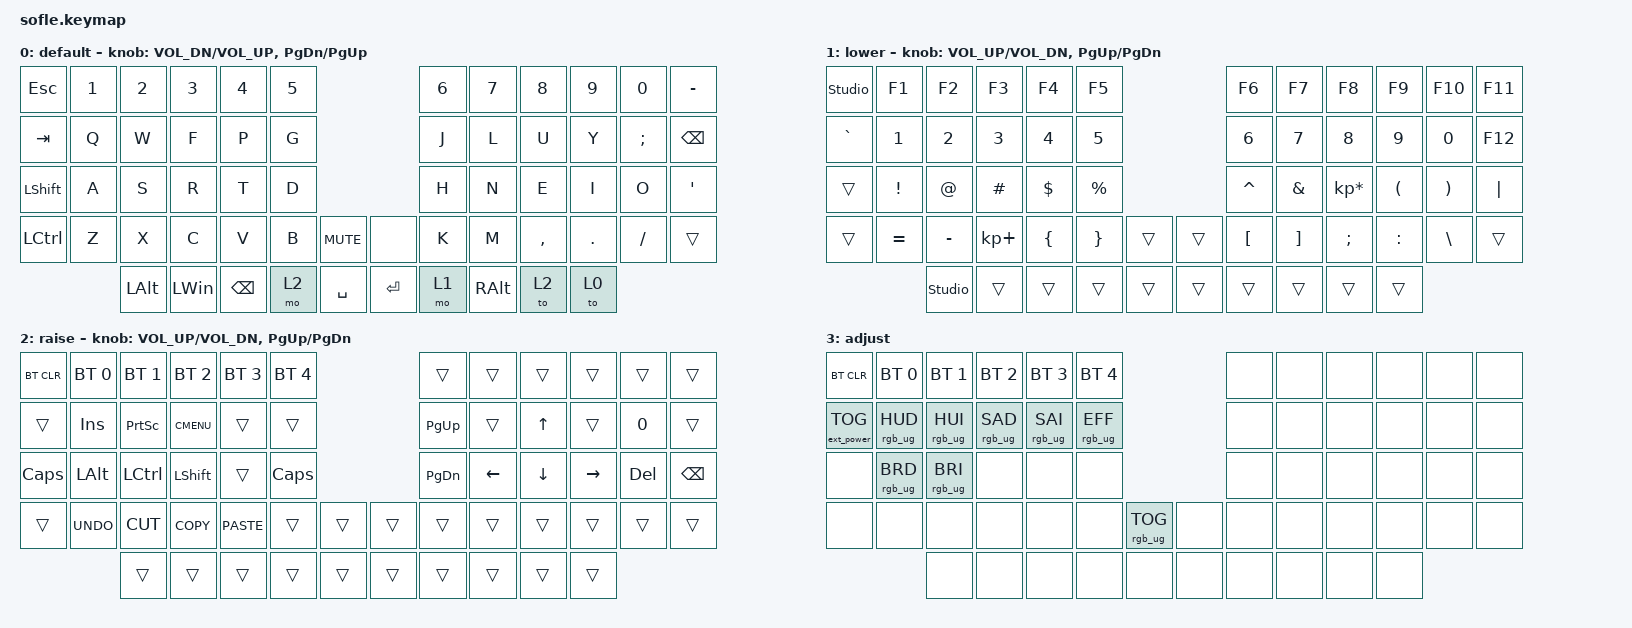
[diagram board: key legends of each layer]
/*
 * Copyright (c) 2020 The ZMK Contributors
 *
 * SPDX-License-Identifier: MIT
 */

#include <behaviors.dtsi>
#include <dt-bindings/zmk/bt.h>
#include <dt-bindings/zmk/ext_power.h>
#include <dt-bindings/zmk/keys.h>
#include <dt-bindings/zmk/rgb.h>

#define BASE 0
#define LOWER 1
#define RAISE 2
#define ADJUST 3

/ {
    // Activate ADJUST layer by pressing raise and lower

    conditional_layers {
        compatible = "zmk,conditional-layers";

        adjust_layer {
            if-layers = <1 2>;
            then-layer = <3>;
        };
    };

    keymap {
        compatible = "zmk,keymap";

        default_layer {
            label = "default";

            // ------------------------------------------------------------------------------------------------------------
            // |   `   |  1  |  2  |  3   |  4   |  5   |                   |  6   |  7    |  8    |  9   |   0   |       |
            // |  ESC  |  Q  |  W  |  E   |  R   |  T   |                   |  Y   |  U    |  I    |  O   |   P   | BKSPC |
            // |  TAB  |  A  |  S  |  D   |  F   |  G   |                   |  H   |  J    |  K    |  L   |   ;   |   '   |
            // | SHIFT |  Z  |  X  |  C   |  V   |  B   |  MUTE  |  |       |  N   |  M    |  ,    |  .   |   /   | SHIFT |
            //               | GUI | ALT  | CTRL | LOWER|  ENTER |  | SPACE | RAISE| CTRL  | ALT   | GUI  |

            bindings = <
&kp ESCAPE      &kp N1  &kp N2        &kp N3        &kp N4         &kp N5                         &kp N6  &kp N7         &kp N8     &kp N9   &kp N0         &kp MINUS
&kp TAB         &kp Q   &kp W         &kp F         &kp P          &kp G                          &kp J   &kp L          &kp U      &kp Y    &kp SEMICOLON  &kp BSPC
&kp LEFT_SHIFT  &kp A   &kp S         &kp R         &kp T          &kp D                          &kp H   &kp N          &kp E      &kp I    &kp O          &kp SQT
&kp LCTRL       &kp Z   &kp X         &kp C         &kp V          &kp B   &kp K_MUTE    &none    &kp K   &kp M          &kp COMMA  &kp DOT  &kp FSLH       &trans
                        &kp LEFT_ALT  &kp LEFT_WIN  &kp BACKSPACE  &mo 2   &kp SPACE     &kp RET  &mo 1   &kp RIGHT_ALT  &to 2      &to 0
            >;

            sensor-bindings =
                <&inc_dec_kp C_VOL_DN C_VOL_UP>,
                <&inc_dec_kp PG_DN PG_UP>;
        };

        lower_layer {
            label = "lower";

            // TODO: Some binds are waiting for shifted keycode support.
            // ------------------------------------------------------------------------------------------------------------
            // |       |  F1 |  F2 |  F3  |  F4  |  F5  |                   |  F6  |  F7   |  F8   |  F9  |  F10  |  F11  |
            // |   `   |  1  |  2  |  3   |  4   |  5   |                   |  6   |  7    |  8    |  9   |   0   |  F12  |
            // |       |  !  |  @  |  #   |  $   |  %   |                   |  ^   |  &    |  *    |  (   |   )   |   |   |
            // |       |  =  |  -  |  +   |  {   |  }   |        |  |       |  [   |  ]    |  ;    |  :   |   \   |       |
            //               |     |      |      |      |        |  |       |      |       |       |      |

            bindings = <
&studio_unlock  &kp F1     &kp F2          &kp F3       &kp F4    &kp F5                       &kp F6     &kp F7    &kp F8           &kp F9     &kp F10   &kp F11
&kp GRAVE       &kp N1     &kp N2          &kp N3       &kp N4    &kp N5                       &kp N6     &kp N7    &kp N8           &kp N9     &kp N0    &kp F12
&trans          &kp EXCL   &kp AT          &kp HASH     &kp DLLR  &kp PRCNT                    &kp CARET  &kp AMPS  &kp KP_MULTIPLY  &kp LPAR   &kp RPAR  &kp PIPE
&trans          &kp EQUAL  &kp MINUS       &kp KP_PLUS  &kp LBRC  &kp RBRC   &trans    &trans  &kp LBKT   &kp RBKT  &kp SEMI         &kp COLON  &kp BSLH  &trans
                           &studio_unlock  &trans       &trans    &trans     &trans    &trans  &trans     &trans    &trans           &trans
            >;

            sensor-bindings = <&inc_dec_kp C_VOL_UP C_VOL_DN &inc_dec_kp PG_UP PG_DN>;
        };

        raise_layer {
            label = "raise";

            // ------------------------------------------------------------------------------------------------------------
            // | BTCLR | BT1  | BT2  |  BT3  |  BT4  |  BT5 |                |      |      |       |      |       |       |
            // |       | INS  | PSCR | GUI   |       |      |                | PGUP |      |   ^   |      |       |       |
            // |       | ALT  | CTRL | SHIFT |       | CAPS |                | PGDN |   <- |   v   |  ->  |  DEL  | BKSPC |
            // |       | UNDO | CUT  | COPY  | PASTE |      |      |  |      |      |      |       |      |       |       |
            //                |      |       |       |      |      |  |      |      |      |       |      |

            bindings = <
&bt BT_CLR  &bt BT_SEL 0  &bt BT_SEL 1  &bt BT_SEL 2  &bt BT_SEL 3  &bt BT_SEL 4                    &trans     &trans    &trans    &trans     &trans   &trans
&trans      &kp INS       &kp PSCRN     &kp K_CMENU   &trans        &trans                          &kp PG_UP  &trans    &kp UP    &trans     &kp N0   &trans
&kp CAPS    &kp LALT      &kp LCTRL     &kp LSHFT     &trans        &kp CLCK                        &kp PG_DN  &kp LEFT  &kp DOWN  &kp RIGHT  &kp DEL  &kp BSPC
&trans      &kp K_UNDO    &kp K_CUT     &kp K_COPY    &kp K_PASTE   &trans        &trans    &trans  &trans     &trans    &trans    &trans     &trans   &trans
                          &trans        &trans        &trans        &trans        &trans    &trans  &trans     &trans    &trans    &trans
            >;

            sensor-bindings = <&inc_dec_kp C_VOL_UP C_VOL_DN &inc_dec_kp PG_UP PG_DN>;
        };

        adjust_layer {
            // ----------------------------------------------------------------------------------------------------------------------------
            // | BTCLR  |  BT1    |  BT2    |   BT3   |   BT4   |   BT5   |                  |      |      |       |      |       |       |
            // | EXTPWR | RGB_HUD | RGB_HUI | RGB_SAD | RGB_SAI | RGB_EFF |                  |      |      |       |      |       |       |
            // |        | RGB_BRD | RGB_BRI |         |         |         |                  |      |      |       |      |       |       |
            // |        |         |         |         |         |         | RGB_TOG | |      |      |      |       |      |       |       |
            //                    |         |         |         |         |         | |      |      |      |       |      |

            label = "adjust";
            bindings = <
&bt BT_CLR         &bt BT_SEL 0     &bt BT_SEL 1     &bt BT_SEL 2     &bt BT_SEL 3     &bt BT_SEL 4                               &none  &none  &none  &none  &none  &none
&ext_power EP_TOG  &rgb_ug RGB_HUD  &rgb_ug RGB_HUI  &rgb_ug RGB_SAD  &rgb_ug RGB_SAI  &rgb_ug RGB_EFF                            &none  &none  &none  &none  &none  &none
&none              &rgb_ug RGB_BRD  &rgb_ug RGB_BRI  &none            &none            &none                                      &none  &none  &none  &none  &none  &none
&none              &none            &none            &none            &none            &none            &rgb_ug RGB_TOG    &none  &none  &none  &none  &none  &none  &none
                                    &none            &none            &none            &none            &none              &none  &none  &none  &none  &none
            >;
        };
    };
};
